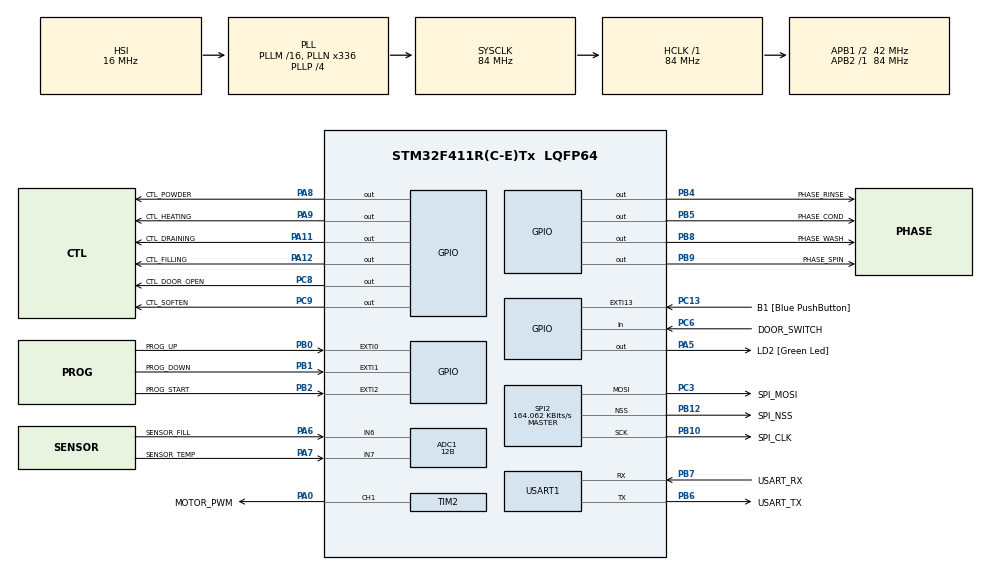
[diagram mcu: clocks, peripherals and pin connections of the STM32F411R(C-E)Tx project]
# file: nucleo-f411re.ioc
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ADC1.Channel-5\#ChannelRegularConversion=ADC_CHANNEL_6
ADC1.Channel-7\#ChannelRegularConversion=ADC_CHANNEL_7
ADC1.ClockPrescaler=ADC_CLOCK_SYNC_PCLK_DIV8
ADC1.ContinuousConvMode=DISABLE
ADC1.DMAContinuousRequests=DISABLE
ADC1.DataAlign=ADC_DATAALIGN_RIGHT
ADC1.DiscontinuousConvMode=ENABLE
ADC1.EOCSelection=ADC_EOC_SINGLE_CONV
ADC1.EnableAnalogWatchDog=false
ADC1.ExternalTrigConvEdge=ADC_EXTERNALTRIGCONVEDGE_NONE
ADC1.InjNumberOfConversion=0
ADC1.NbrOfConversion=2
ADC1.NbrOfConversionFlag=1
ADC1.NbrOfDiscConversion=1
ADC1.Rank-5\#ChannelRegularConversion=1
ADC1.Rank-7\#ChannelRegularConversion=2
ADC1.Resolution=ADC_RESOLUTION_12B
ADC1.SamplingTime-5\#ChannelRegularConversion=ADC_SAMPLETIME_480CYCLES
ADC1.SamplingTime-7\#ChannelRegularConversion=ADC_SAMPLETIME_480CYCLES
ADC1.ScanConvMode=ENABLE
ADC1.master=1
FREERTOS.INCLUDE_vTaskDelayUntil=1
FREERTOS.Tasks01=defaultTask,0,128,StartDefaultTask,Default
FREERTOS.configTOTAL_HEAP_SIZE=8192
FREERTOS.configUSE_RECURSIVE_MUTEXES=1
FREERTOS.configUSE_TIMERS=1
Mcu.Family=STM32F4
Mcu.Name=STM32F411R(C-E)Tx
Mcu.Package=LQFP64
NVIC.ADC_IRQn=true\:5\:0\:false\:false\:false\:true\:true
NVIC.EXTI0_IRQn=true\:5\:0\:false\:false\:false\:true\:true
NVIC.EXTI1_IRQn=true\:5\:0\:false\:false\:false\:true\:true
NVIC.EXTI2_IRQn=true\:5\:0\:false\:false\:false\:true\:true
NVIC.PriorityGroup=NVIC_PRIORITYGROUP_4
NVIC.TIM1_UP_TIM10_IRQn=true\:0\:0\:false\:false\:true\:false\:true
NVIC.TimeBase=TIM1_UP_TIM10_IRQn
NVIC.TimeBaseIP=TIM1
PA0-WKUP.GPIO_Label=MOTOR_PWM
PA0-WKUP.Signal=S_TIM2_CH1_ETR
PA11.GPIO_Label=CTL_DRAINING
PA11.GPIO_ModeDefaultOutputPP=GPIO_MODE_OUTPUT_OD
PA11.GPIO_PuPd=GPIO_NOPULL
PA11.Signal=GPIO_Output
PA12.GPIO_Label=CTL_FILLING
PA12.GPIO_ModeDefaultOutputPP=GPIO_MODE_OUTPUT_OD
PA12.GPIO_PuPd=GPIO_NOPULL
PA12.Signal=GPIO_Output
PA13.GPIO_Label=TMS
PA13.Signal=SYS_JTMS-SWDIO
PA14.GPIO_Label=TCK
PA14.Signal=SYS_JTCK-SWCLK
PA2.GPIO_Label=UART_RX
PA2.Signal=USART2_TX
PA3.GPIO_Label=UART_RX
PA3.Signal=USART2_RX
PA5.GPIO_Label=LD2 [Green Led]
PA5.Signal=GPIO_Output
PA6.GPIO_Label=SENSOR_FILL
PA6.Signal=ADCx_IN6
PA7.GPIO_Label=SENSOR_TEMP
PA7.Signal=ADCx_IN7
PA8.GPIO_Label=CTL_POWDER
PA8.GPIO_ModeDefaultOutputPP=GPIO_MODE_OUTPUT_OD
PA8.GPIO_PuPd=GPIO_NOPULL
PA8.Signal=GPIO_Output
PA9.GPIO_Label=CTL_HEATING
PA9.GPIO_ModeDefaultOutputPP=GPIO_MODE_OUTPUT_OD
PA9.GPIO_PuPd=GPIO_NOPULL
PA9.Signal=GPIO_Output
PB0.GPIO_Label=PROG_UP
PB0.GPIO_ModeDefaultEXTI=GPIO_MODE_IT_FALLING
PB0.Signal=GPXTI0
PB1.GPIO_Label=PROG_DOWN
PB1.GPIO_ModeDefaultEXTI=GPIO_MODE_IT_FALLING
PB1.Signal=GPXTI1
PB10.GPIO_Label=SPI_CLK
PB10.GPIO_Speed=GPIO_SPEED_FREQ_VERY_HIGH
PB10.Mode=TX_Only_Simplex_Unidirect_Master
PB10.Signal=SPI2_SCK
PB12.GPIO_Label=SPI_NSS
PB12.Mode=NSS_Signal_Hard_Output
PB12.Signal=SPI2_NSS
PB2.GPIO_Label=PROG_START
PB2.GPIO_ModeDefaultEXTI=GPIO_MODE_IT_FALLING
PB2.Signal=GPXTI2
PB3.GPIO_Label=SWO
PB3.Signal=SYS_JTDO-SWO
PB4.GPIO_Label=PHASE_RINSE
PB4.GPIO_ModeDefaultOutputPP=GPIO_MODE_OUTPUT_OD
PB4.Signal=GPIO_Output
PB5.GPIO_Label=PHASE_COND
PB5.GPIO_ModeDefaultOutputPP=GPIO_MODE_OUTPUT_OD
PB5.Signal=GPIO_Output
PB6.GPIO_Label=USART_TX
PB6.Mode=Asynchronous
PB6.Signal=USART1_TX
PB7.GPIO_Label=USART_RX
PB7.Mode=Asynchronous
PB7.Signal=USART1_RX
PB8.GPIO_Label=PHASE_WASH
PB8.GPIO_ModeDefaultOutputPP=GPIO_MODE_OUTPUT_OD
PB8.GPIO_PuPd=GPIO_NOPULL
PB8.Signal=GPIO_Output
PB9.GPIO_Label=PHASE_SPIN
PB9.GPIO_ModeDefaultOutputPP=GPIO_MODE_OUTPUT_OD
PB9.Signal=GPIO_Output
PC13-ANTI_TAMP.GPIO_Label=B1 [Blue PushButton]
PC13-ANTI_TAMP.Signal=GPXTI13
PC14-OSC32_IN.Signal=RCC_OSC32_IN
PC15-OSC32_OUT.Signal=RCC_OSC32_OUT
PC3.GPIO_Label=SPI_MOSI
PC3.GPIO_Speed=GPIO_SPEED_FREQ_VERY_HIGH
PC3.Mode=TX_Only_Simplex_Unidirect_Master
PC3.Signal=SPI2_MOSI
PC6.GPIO_Label=DOOR_SWITCH
PC6.Signal=GPIO_Input
PC8.GPIO_Label=CTL_DOOR_OPEN
PC8.GPIO_ModeDefaultOutputPP=GPIO_MODE_OUTPUT_OD
PC8.GPIO_PuPd=GPIO_NOPULL
PC8.Signal=GPIO_Output
PC9.GPIO_Label=CTL_SOFTEN
PC9.GPIO_ModeDefaultOutputPP=GPIO_MODE_OUTPUT_OD
PC9.GPIO_PuPd=GPIO_NOPULL
PC9.Signal=GPIO_Output
PH0\ -\ OSC_IN.Signal=RCC_OSC_IN
PH1\ -\ OSC_OUT.Signal=RCC_OSC_OUT
ProjectManager.HeapSize=0x200
ProjectManager.StackSize=0x400
ProjectManager.TargetToolchain=SW4STM32
RCC.48MHZClocksFreq_Value=84000000
RCC.AHBFreq_Value=84000000
RCC.APB1CLKDivider=RCC_HCLK_DIV2
RCC.APB1Freq_Value=42000000
RCC.APB1TimFreq_Value=84000000
RCC.APB2Freq_Value=84000000
RCC.APB2TimFreq_Value=84000000
RCC.CortexFreq_Value=84000000
RCC.FLatency-AdvancedSettings=FLASH_LATENCY_2
RCC.HCLKFreq_Value=84000000
RCC.HSE_VALUE=8000000
RCC.HSI_VALUE=16000000
RCC.LSE_VALUE=32768
RCC.PLLN=336
RCC.PLLP=RCC_PLLP_DIV4
RCC.SYSCLKFreq_VALUE=84000000
RCC.SYSCLKSource=RCC_SYSCLKSOURCE_PLLCLK
RCC.VCOOutputFreq_Value=336000000
SH.ADCx_IN6.0=ADC1_IN6,IN6
SH.ADCx_IN7.0=ADC1_IN7,IN7
SH.S_TIM2_CH1_ETR.0=TIM2_CH1,PWM Generation1 CH1
SPI2.BaudRatePrescaler=SPI_BAUDRATEPRESCALER_256
SPI2.CalculateBaudRate=164.062 KBits/s
SPI2.DataSize=SPI_DATASIZE_8BIT
SPI2.Direction=SPI_DIRECTION_2LINES
SPI2.Mode=SPI_MODE_MASTER
SPI2.VirtualNSS=VM_NSSHARD
SPI2.VirtualType=VM_MASTER
TIM2.Channel-PWM\ Generation1\ CH1=TIM_CHANNEL_1
TIM2.Period=999
TIM2.Prescaler=499
USART1.VirtualMode=VM_ASYNC
VP_FREERTOS_VS_ENABLE.Mode=Enabled
VP_SYS_VS_tim1.Mode=TIM1
board=NUCLEO-F411RE

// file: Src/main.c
/**
  ******************************************************************************
  * @file           : main.c
  * @brief          : Main program body
  ******************************************************************************
  * This notice applies to any and all portions of this file
  * that are not between comment pairs USER CODE BEGIN and
  * USER CODE END. Other portions of this file, whether
  * inserted by the user or by software development tools
  * are owned by their respective copyright owners.
  *
  * Copyright (c) 2018 STMicroelectronics International N.V.
  * All rights reserved.
  *
  * Redistribution and use in source and binary forms, with or without
  * modification, are permitted, provided that the following conditions are met:
  *
  * 1. Redistribution of source code must retain the above copyright notice,
  *    this list of conditions and the following disclaimer.
  * 2. Redistributions in binary form must reproduce the above copyright notice,
  *    this list of conditions and the following disclaimer in the documentation
  *    and/or other materials provided with the distribution.
  * 3. Neither the name of STMicroelectronics nor the names of other
  *    contributors to this software may be used to endorse or promote products
  *    derived from this software without specific written permission.
  * 4. This software, including modifications and/or derivative works of this
  *    software, must execute solely and exclusively on microcontroller or
  *    microprocessor devices manufactured by or for STMicroelectronics.
  * 5. Redistribution and use of this software other than as permitted under
  *    this license is void and will automatically terminate your rights under
  *    this license.
  *
  * THIS SOFTWARE IS PROVIDED BY STMICROELECTRONICS AND CONTRIBUTORS "AS IS"
  * AND ANY EXPRESS, IMPLIED OR STATUTORY WARRANTIES, INCLUDING, BUT NOT
  * LIMITED TO, THE IMPLIED WARRANTIES OF MERCHANTABILITY, FITNESS FOR A
  * PARTICULAR PURPOSE AND NON-INFRINGEMENT OF THIRD PARTY INTELLECTUAL PROPERTY
  * RIGHTS ARE DISCLAIMED TO THE FULLEST EXTENT PERMITTED BY LAW. IN NO EVENT
  * SHALL STMICROELECTRONICS OR CONTRIBUTORS BE LIABLE FOR ANY DIRECT, INDIRECT,
  * INCIDENTAL, SPECIAL, EXEMPLARY, OR CONSEQUENTIAL DAMAGES (INCLUDING, BUT NOT
  * LIMITED TO, PROCUREMENT OF SUBSTITUTE GOODS OR SERVICES; LOSS OF USE, DATA,
  * OR PROFITS; OR BUSINESS INTERRUPTION) HOWEVER CAUSED AND ON ANY THEORY OF
  * LIABILITY, WHETHER IN CONTRACT, STRICT LIABILITY, OR TORT (INCLUDING
  * NEGLIGENCE OR OTHERWISE) ARISING IN ANY WAY OUT OF THE USE OF THIS SOFTWARE,
  * EVEN IF ADVISED OF THE POSSIBILITY OF SUCH DAMAGE.
  *
  ******************************************************************************
  */
#include "main.h"
#include "stm32f4xx_hal.h"
#include "cmsis_os.h"

ADC_HandleTypeDef hadc1;

SPI_HandleTypeDef hspi2;

TIM_HandleTypeDef htim2;

UART_HandleTypeDef huart1;

osThreadId defaultTaskHandle;

/* USER CODE BEGIN PV */
/* Private variables ---------------------------------------------------------*/

/* USER CODE END PV */

void SystemClock_Config(void);
static void MX_GPIO_Init(void);
static void MX_SPI2_Init(void);
static void MX_ADC1_Init(void);
static void MX_TIM2_Init(void);
static void MX_USART1_UART_Init(void);
void StartDefaultTask(void const * argument);

void HAL_TIM_MspPostInit(TIM_HandleTypeDef *htim);

/* USER CODE BEGIN PFP */
/* Private function prototypes -----------------------------------------------*/
extern void run(ADC_HandleTypeDef *, SPI_HandleTypeDef *,
                TIM_HandleTypeDef *, UART_HandleTypeDef *);

/* USER CODE END PFP */

int main(void)
{

  /* MCU Configuration----------------------------------------------------------*/

  /* Reset of all peripherals, Initializes the Flash interface and the Systick. */
  HAL_Init();

  /* Configure the system clock */
  SystemClock_Config();

  /* Initialize all configured peripherals */
  MX_GPIO_Init();
  MX_SPI2_Init();
  MX_ADC1_Init();
  MX_TIM2_Init();
  MX_USART1_UART_Init();
  /* USER CODE BEGIN 2 */

  HAL_TIM_PWM_Start(&htim2, TIM_CHANNEL_1);
  __HAL_TIM_SET_COMPARE(&htim2, TIM_CHANNEL_1, 1);

  HAL_GPIO_WritePin(CTL_DOOR_OPEN_GPIO_Port, CTL_DOOR_OPEN_Pin, GPIO_PIN_SET);
  HAL_GPIO_WritePin(CTL_SOFTEN_GPIO_Port, CTL_SOFTEN_Pin, GPIO_PIN_SET);
  HAL_GPIO_WritePin(CTL_POWDER_GPIO_Port, CTL_POWDER_Pin, GPIO_PIN_SET);
  HAL_GPIO_WritePin(CTL_HEATING_GPIO_Port, CTL_HEATING_Pin, GPIO_PIN_SET);
  HAL_GPIO_WritePin(CTL_DRAINING_GPIO_Port, CTL_DRAINING_Pin, GPIO_PIN_SET);
  HAL_GPIO_WritePin(CTL_FILLING_GPIO_Port, CTL_FILLING_Pin, GPIO_PIN_SET);
  HAL_GPIO_WritePin(PHASE_RINSE_GPIO_Port, PHASE_RINSE_Pin, GPIO_PIN_SET);
  HAL_GPIO_WritePin(PHASE_COND_GPIO_Port, PHASE_COND_Pin, GPIO_PIN_SET);
  HAL_GPIO_WritePin(PHASE_WASH_GPIO_Port, PHASE_WASH_Pin, GPIO_PIN_SET);
  HAL_GPIO_WritePin(PHASE_SPIN_GPIO_Port, PHASE_SPIN_Pin, GPIO_PIN_SET);

  HAL_GPIO_WritePin(SPI_NSS_GPIO_Port, SPI_NSS_Pin, GPIO_PIN_SET);

  // Either define this in your code as your application's non-HAL entry
  // point, comment it out, or delete it.
  run(&hadc1, &hspi2, &htim2, &huart1);

  /* USER CODE END 2 */

  /* Create the thread(s) */
  /* definition and creation of defaultTask */
  osThreadDef(defaultTask, StartDefaultTask, osPriorityNormal, 0, 128);
  defaultTaskHandle = osThreadCreate(osThread(defaultTask), NULL);

  /* Start scheduler */
  osKernelStart();

  /* We should never get here as control is now taken by the scheduler */

  /* Infinite loop */
  while (1)
  {

  }

}

void SystemClock_Config(void)
{

  RCC_OscInitTypeDef RCC_OscInitStruct;
  RCC_ClkInitTypeDef RCC_ClkInitStruct;

    /**Configure the main internal regulator output voltage
    */
  __HAL_RCC_PWR_CLK_ENABLE();

  __HAL_PWR_VOLTAGESCALING_CONFIG(PWR_REGULATOR_VOLTAGE_SCALE1);

    /**Initializes the CPU, AHB and APB busses clocks
    */
  RCC_OscInitStruct.OscillatorType = RCC_OSCILLATORTYPE_HSI;
  RCC_OscInitStruct.HSIState = RCC_HSI_ON;
  RCC_OscInitStruct.HSICalibrationValue = 16;
  RCC_OscInitStruct.PLL.PLLState = RCC_PLL_ON;
  RCC_OscInitStruct.PLL.PLLSource = RCC_PLLSOURCE_HSI;
  RCC_OscInitStruct.PLL.PLLM = 16;
  RCC_OscInitStruct.PLL.PLLN = 336;
  RCC_OscInitStruct.PLL.PLLP = RCC_PLLP_DIV4;
  RCC_OscInitStruct.PLL.PLLQ = 4;
  if (HAL_RCC_OscConfig(&RCC_OscInitStruct) != HAL_OK)
  {
    _Error_Handler(__FILE__, __LINE__);
  }

    /**Initializes the CPU, AHB and APB busses clocks
    */
  RCC_ClkInitStruct.ClockType = RCC_CLOCKTYPE_HCLK|RCC_CLOCKTYPE_SYSCLK
                              |RCC_CLOCKTYPE_PCLK1|RCC_CLOCKTYPE_PCLK2;
  RCC_ClkInitStruct.SYSCLKSource = RCC_SYSCLKSOURCE_PLLCLK;
  RCC_ClkInitStruct.AHBCLKDivider = RCC_SYSCLK_DIV1;
  RCC_ClkInitStruct.APB1CLKDivider = RCC_HCLK_DIV2;
  RCC_ClkInitStruct.APB2CLKDivider = RCC_HCLK_DIV1;

  if (HAL_RCC_ClockConfig(&RCC_ClkInitStruct, FLASH_LATENCY_2) != HAL_OK)
  {
    _Error_Handler(__FILE__, __LINE__);
  }

    /**Configure the Systick interrupt time
    */
  HAL_SYSTICK_Config(HAL_RCC_GetHCLKFreq()/1000);

    /**Configure the Systick
    */
  HAL_SYSTICK_CLKSourceConfig(SYSTICK_CLKSOURCE_HCLK);

  /* SysTick_IRQn interrupt configuration */
  HAL_NVIC_SetPriority(SysTick_IRQn, 15, 0);
}

/* ADC1 init function */
static void MX_ADC1_Init(void)
{

  ADC_ChannelConfTypeDef sConfig;

    /**Configure the global features of the ADC (Clock, Resolution, Data Alignment and number of conversion)
    */
  hadc1.Instance = ADC1;
  hadc1.Init.ClockPrescaler = ADC_CLOCK_SYNC_PCLK_DIV8;
  hadc1.Init.Resolution = ADC_RESOLUTION_12B;
  hadc1.Init.ScanConvMode = ENABLE;
  hadc1.Init.ContinuousConvMode = DISABLE;
  hadc1.Init.DiscontinuousConvMode = ENABLE;
  hadc1.Init.NbrOfDiscConversion = 1;
  hadc1.Init.ExternalTrigConvEdge = ADC_EXTERNALTRIGCONVEDGE_NONE;
  hadc1.Init.ExternalTrigConv = ADC_SOFTWARE_START;
  hadc1.Init.DataAlign = ADC_DATAALIGN_RIGHT;
  hadc1.Init.NbrOfConversion = 2;
  hadc1.Init.DMAContinuousRequests = DISABLE;
  hadc1.Init.EOCSelection = ADC_EOC_SINGLE_CONV;
  if (HAL_ADC_Init(&hadc1) != HAL_OK)
  {
    _Error_Handler(__FILE__, __LINE__);
  }

    /**Configure for the selected ADC regular channel its corresponding rank in the sequencer and its sample time.
    */
  sConfig.Channel = ADC_CHANNEL_6;
  sConfig.Rank = 1;
  sConfig.SamplingTime = ADC_SAMPLETIME_480CYCLES;
  if (HAL_ADC_ConfigChannel(&hadc1, &sConfig) != HAL_OK)
  {
    _Error_Handler(__FILE__, __LINE__);
  }

    /**Configure for the selected ADC regular channel its corresponding rank in the sequencer and its sample time.
    */
  sConfig.Channel = ADC_CHANNEL_7;
  sConfig.Rank = 2;
  if (HAL_ADC_ConfigChannel(&hadc1, &sConfig) != HAL_OK)
  {
    _Error_Handler(__FILE__, __LINE__);
  }

}

/* SPI2 init function */
static void MX_SPI2_Init(void)
{

  /* SPI2 parameter configuration*/
  hspi2.Instance = SPI2;
  hspi2.Init.Mode = SPI_MODE_MASTER;
  hspi2.Init.Direction = SPI_DIRECTION_2LINES;
  hspi2.Init.DataSize = SPI_DATASIZE_8BIT;
  hspi2.Init.CLKPolarity = SPI_POLARITY_LOW;
  hspi2.Init.CLKPhase = SPI_PHASE_1EDGE;
  hspi2.Init.NSS = SPI_NSS_SOFT;
  hspi2.Init.BaudRatePrescaler = SPI_BAUDRATEPRESCALER_256;
  hspi2.Init.FirstBit = SPI_FIRSTBIT_MSB;
  hspi2.Init.TIMode = SPI_TIMODE_DISABLE;
  hspi2.Init.CRCCalculation = SPI_CRCCALCULATION_DISABLE;
  hspi2.Init.CRCPolynomial = 10;
  if (HAL_SPI_Init(&hspi2) != HAL_OK)
  {
    _Error_Handler(__FILE__, __LINE__);
  }

}

/* TIM2 init function */
static void MX_TIM2_Init(void)
{

  TIM_MasterConfigTypeDef sMasterConfig;
  TIM_OC_InitTypeDef sConfigOC;

  htim2.Instance = TIM2;
  htim2.Init.Prescaler = 499;
  htim2.Init.CounterMode = TIM_COUNTERMODE_UP;
  htim2.Init.Period = 999;
  htim2.Init.ClockDivision = TIM_CLOCKDIVISION_DIV1;
  if (HAL_TIM_PWM_Init(&htim2) != HAL_OK)
  {
    _Error_Handler(__FILE__, __LINE__);
  }

  sMasterConfig.MasterOutputTrigger = TIM_TRGO_RESET;
  sMasterConfig.MasterSlaveMode = TIM_MASTERSLAVEMODE_DISABLE;
  if (HAL_TIMEx_MasterConfigSynchronization(&htim2, &sMasterConfig) != HAL_OK)
  {
    _Error_Handler(__FILE__, __LINE__);
  }

  sConfigOC.OCMode = TIM_OCMODE_PWM1;
  sConfigOC.Pulse = 0;
  sConfigOC.OCPolarity = TIM_OCPOLARITY_HIGH;
  sConfigOC.OCFastMode = TIM_OCFAST_DISABLE;
  if (HAL_TIM_PWM_ConfigChannel(&htim2, &sConfigOC, TIM_CHANNEL_1) != HAL_OK)
  {
    _Error_Handler(__FILE__, __LINE__);
  }

  HAL_TIM_MspPostInit(&htim2);

}

/* USART1 init function */
static void MX_USART1_UART_Init(void)
{

  huart1.Instance = USART1;
  huart1.Init.BaudRate = 115200;
  huart1.Init.WordLength = UART_WORDLENGTH_8B;
  huart1.Init.StopBits = UART_STOPBITS_1;
  huart1.Init.Parity = UART_PARITY_NONE;
  huart1.Init.Mode = UART_MODE_TX_RX;
  huart1.Init.HwFlowCtl = UART_HWCONTROL_NONE;
  huart1.Init.OverSampling = UART_OVERSAMPLING_16;
  if (HAL_UART_Init(&huart1) != HAL_OK)
  {
    _Error_Handler(__FILE__, __LINE__);
  }

}

/** Configure pins as
        * Analog
        * Input
        * Output
        * EVENT_OUT
        * EXTI
     PA2   ------> USART2_TX
     PA3   ------> USART2_RX
*/
static void MX_GPIO_Init(void)
{

  GPIO_InitTypeDef GPIO_InitStruct;

  /* GPIO Ports Clock Enable */
  __HAL_RCC_GPIOC_CLK_ENABLE();
  __HAL_RCC_GPIOH_CLK_ENABLE();
  __HAL_RCC_GPIOA_CLK_ENABLE();
  __HAL_RCC_GPIOB_CLK_ENABLE();

  /*Configure GPIO pin Output Level */
  HAL_GPIO_WritePin(GPIOA, LD2_Pin|CTL_POWDER_Pin|CTL_HEATING_Pin|CTL_DRAINING_Pin
                          |CTL_FILLING_Pin, GPIO_PIN_RESET);

  /*Configure GPIO pin Output Level */
  HAL_GPIO_WritePin(GPIOB, SPI_NSS_Pin|PHASE_RINSE_Pin|PHASE_COND_Pin|PHASE_WASH_Pin
                          |PHASE_SPIN_Pin, GPIO_PIN_RESET);

  /*Configure GPIO pin Output Level */
  HAL_GPIO_WritePin(GPIOC, CTL_DOOR_OPEN_Pin|CTL_SOFTEN_Pin, GPIO_PIN_RESET);

  /*Configure GPIO pin : B1_Pin */
  GPIO_InitStruct.Pin = B1_Pin;
  GPIO_InitStruct.Mode = GPIO_MODE_IT_RISING;
  GPIO_InitStruct.Pull = GPIO_NOPULL;
  HAL_GPIO_Init(B1_GPIO_Port, &GPIO_InitStruct);

  /*Configure GPIO pins : UART_RX_Pin UART_RXA3_Pin */
  GPIO_InitStruct.Pin = UART_RX_Pin|UART_RXA3_Pin;
  GPIO_InitStruct.Mode = GPIO_MODE_AF_PP;
  GPIO_InitStruct.Pull = GPIO_NOPULL;
  GPIO_InitStruct.Speed = GPIO_SPEED_FREQ_VERY_HIGH;
  GPIO_InitStruct.Alternate = GPIO_AF7_USART2;
  HAL_GPIO_Init(GPIOA, &GPIO_InitStruct);

  /*Configure GPIO pin : LD2_Pin */
  GPIO_InitStruct.Pin = LD2_Pin;
  GPIO_InitStruct.Mode = GPIO_MODE_OUTPUT_PP;
  GPIO_InitStruct.Pull = GPIO_NOPULL;
  GPIO_InitStruct.Speed = GPIO_SPEED_FREQ_LOW;
  HAL_GPIO_Init(LD2_GPIO_Port, &GPIO_InitStruct);

  /*Configure GPIO pins : PROG_UP_Pin PROG_DOWN_Pin PROG_START_Pin */
  GPIO_InitStruct.Pin = PROG_UP_Pin|PROG_DOWN_Pin|PROG_START_Pin;
  GPIO_InitStruct.Mode = GPIO_MODE_IT_FALLING;
  GPIO_InitStruct.Pull = GPIO_NOPULL;
  HAL_GPIO_Init(GPIOB, &GPIO_InitStruct);

  /*Configure GPIO pin : SPI_NSS_Pin */
  GPIO_InitStruct.Pin = SPI_NSS_Pin;
  GPIO_InitStruct.Mode = GPIO_MODE_OUTPUT_PP;
  GPIO_InitStruct.Pull = GPIO_PULLUP;
  GPIO_InitStruct.Speed = GPIO_SPEED_FREQ_LOW;
  HAL_GPIO_Init(SPI_NSS_GPIO_Port, &GPIO_InitStruct);

  /*Configure GPIO pin : DOOR_SWITCH_Pin */
  GPIO_InitStruct.Pin = DOOR_SWITCH_Pin;
  GPIO_InitStruct.Mode = GPIO_MODE_INPUT;
  GPIO_InitStruct.Pull = GPIO_NOPULL;
  HAL_GPIO_Init(DOOR_SWITCH_GPIO_Port, &GPIO_InitStruct);

  /*Configure GPIO pins : CTL_DOOR_OPEN_Pin CTL_SOFTEN_Pin */
  GPIO_InitStruct.Pin = CTL_DOOR_OPEN_Pin|CTL_SOFTEN_Pin;
  GPIO_InitStruct.Mode = GPIO_MODE_OUTPUT_OD;
  GPIO_InitStruct.Pull = GPIO_NOPULL;
  GPIO_InitStruct.Speed = GPIO_SPEED_FREQ_LOW;
  HAL_GPIO_Init(GPIOC, &GPIO_InitStruct);

  /*Configure GPIO pins : CTL_POWDER_Pin CTL_HEATING_Pin CTL_DRAINING_Pin CTL_FILLING_Pin */
  GPIO_InitStruct.Pin = CTL_POWDER_Pin|CTL_HEATING_Pin|CTL_DRAINING_Pin|CTL_FILLING_Pin;
  GPIO_InitStruct.Mode = GPIO_MODE_OUTPUT_OD;
  GPIO_InitStruct.Pull = GPIO_NOPULL;
  GPIO_InitStruct.Speed = GPIO_SPEED_FREQ_LOW;
  HAL_GPIO_Init(GPIOA, &GPIO_InitStruct);

  /*Configure GPIO pins : PHASE_RINSE_Pin PHASE_COND_Pin PHASE_WASH_Pin PHASE_SPIN_Pin */
  GPIO_InitStruct.Pin = PHASE_RINSE_Pin|PHASE_COND_Pin|PHASE_WASH_Pin|PHASE_SPIN_Pin;
  GPIO_InitStruct.Mode = GPIO_MODE_OUTPUT_OD;
  GPIO_InitStruct.Pull = GPIO_NOPULL;
  GPIO_InitStruct.Speed = GPIO_SPEED_FREQ_LOW;
  HAL_GPIO_Init(GPIOB, &GPIO_InitStruct);

  /* EXTI interrupt init*/
  HAL_NVIC_SetPriority(EXTI0_IRQn, 5, 0);
  HAL_NVIC_EnableIRQ(EXTI0_IRQn);

  HAL_NVIC_SetPriority(EXTI1_IRQn, 5, 0);
  HAL_NVIC_EnableIRQ(EXTI1_IRQn);

  HAL_NVIC_SetPriority(EXTI2_IRQn, 5, 0);
  HAL_NVIC_EnableIRQ(EXTI2_IRQn);

}

/* StartDefaultTask function */
void StartDefaultTask(void const * argument)
{

  for(;;)
  {
    osDelay(1);
  }
}

void HAL_TIM_PeriodElapsedCallback(TIM_HandleTypeDef *htim)
{
  if (htim->Instance == TIM1) {
    HAL_IncTick();
  }
}

void _Error_Handler(char *file, int line)
{
  while(1)
  {
  }
}

/************************ (C) COPYRIGHT STMicroelectronics *****END OF FILE****/
